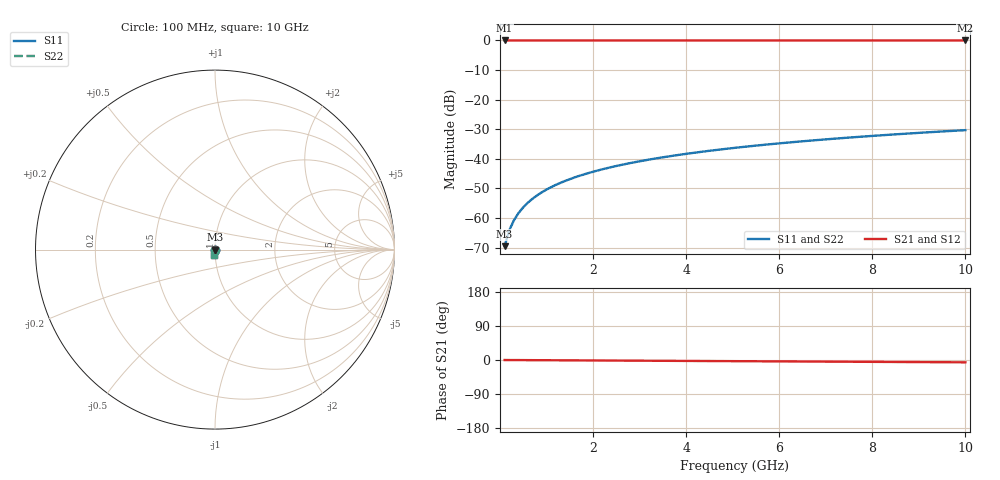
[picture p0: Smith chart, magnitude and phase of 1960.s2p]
# Hz S RI R 50.00
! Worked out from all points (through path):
!   100 points, 100 MHz to 10 GHz, reference 50 ohm
!   highest |S21| = 0.00 dB at 100 MHz (marker M1); lowest = 0.0 dB at 10 GHz (marker M2)
!   lowest |S11| = -69.5 dB at 100 MHz (marker M3), VSWR 1.00, Z = 50 - j0.0303 ohm
!   |S11| at or under -10 dB: start of sweep to end of sweep
!   |S22| runs from -69.5 to -30.3 dB; largest |S21 - S12| = 0
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1e8  0.000145 -0.000303  0.9999 -0.00106  0.9999 -0.00106  0.000145 -0.000303
2e8  0.000145 -0.000605  0.9998 -0.00212  0.9998 -0.00212  0.000145 -0.000605
3e8  0.000143 -0.000908  0.9998 -0.00318  0.9998 -0.00318  0.000143 -0.000908
4e8  0.000141 -0.00121  0.9998 -0.00424  0.9998 -0.00424  0.000141 -0.00121
5e8  0.000138 -0.00151  0.9998 -0.0053  0.9998 -0.0053  0.000138 -0.00151
6e8  0.000134 -0.00182  0.9998 -0.00636  0.9998 -0.00636  0.000134 -0.00182
7e8  0.00013 -0.00212  0.9998 -0.00742  0.9998 -0.00742  0.00013 -0.00212
8e8  0.000125 -0.00242  0.9998 -0.00847  0.9998 -0.00847  0.000125 -0.00242
9e8  0.000119 -0.00273  0.9998 -0.00953  0.9998 -0.00953  0.000119 -0.00273
1.1e9  0.000105 -0.00333  0.9998 -0.0117  0.9998 -0.0117  0.000105 -0.00333
1.4e9  8.02e-05 -0.00424  0.9997 -0.0148  0.9997 -0.0148  8.02e-05 -0.00424
1.8e9  3.75e-05 -0.00546  0.9996 -0.0191  0.9996 -0.0191  3.75e-05 -0.00546
2.1e9  -1.36e-06 -0.00637  0.9996 -0.0223  0.9996 -0.0223  -1.36e-06 -0.00637
2.5e9  -6.24e-05 -0.00758  0.9994 -0.0265  0.9994 -0.0265  -6.24e-05 -0.00758
2.9e9  -0.000134 -0.0088  0.9993 -0.0308  0.9993 -0.0308  -0.000134 -0.0088
3.4e9  -0.000238 -0.0103  0.9991 -0.0361  0.9991 -0.0361  -0.000238 -0.0103
4.2e9  -0.000439 -0.0128  0.9987 -0.0446  0.9987 -0.0446  -0.000439 -0.0128
5.1e9  -0.000715 -0.0155  0.9982 -0.0542  0.9982 -0.0542  -0.000715 -0.0155
5.9e9  -0.00101 -0.018  0.9977 -0.0628  0.9977 -0.0628  -0.00101 -0.018
6.7e9  -0.00134 -0.0204  0.997 -0.0713  0.997 -0.0713  -0.00134 -0.0204
8.4e9  -0.00219 -0.0256  0.9954 -0.0896  0.9954 -0.0896  -0.00219 -0.0256
1e10  -0.00316 -0.0304  0.9936 -0.1068  0.9936 -0.1068  -0.00316 -0.0304
